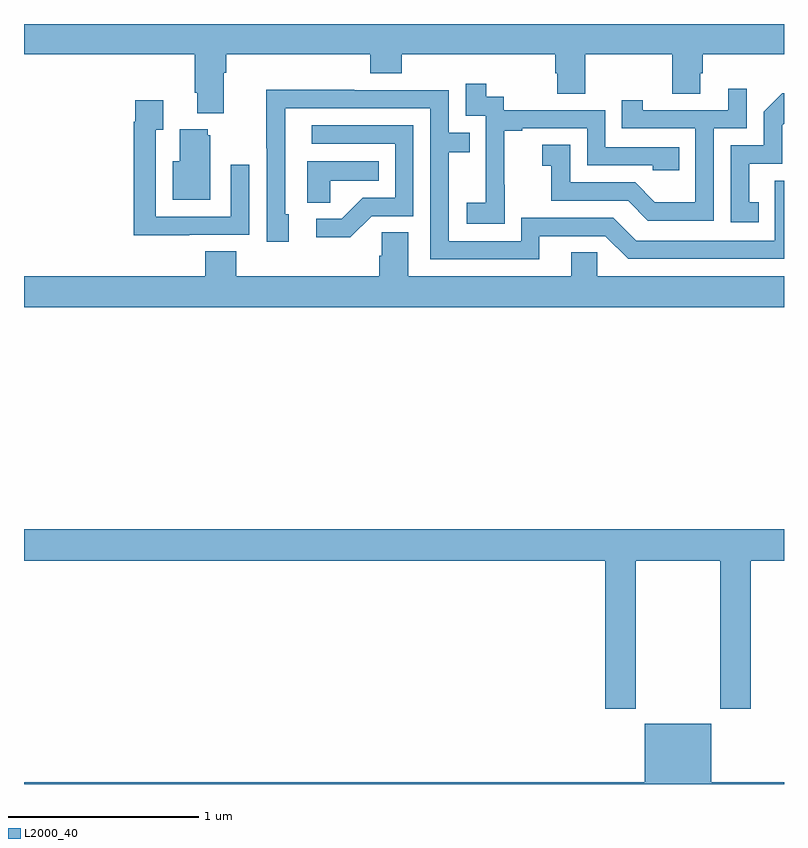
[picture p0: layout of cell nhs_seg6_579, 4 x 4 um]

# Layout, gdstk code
import gdstk
lib = gdstk.Library(unit=1e-6, precision=1e-09)
def P(c, l, *ps):  # polygons
    for p in ps: c.add(gdstk.Polygon(p, *l))
L2000_40 = (2000, 40)

nhs_seg6_579 = lib.new_cell('nhs_seg6_579')
P(nhs_seg6_579, L2000_40, [(148.051,943.244),(148.064,943.244),(148.064,943.34),(148.823,943.34),(148.823,943.241),(148.988,943.241),(148.988,943.34),(149.795,943.34),(149.795,943.242),(149.807,943.242),(149.807,943.132),(149.955,943.132),(149.955,943.34),(150.412,943.34),(150.412,943.132),(150.559,943.132),(150.559,943.242),(150.572,943.242),(150.572,943.34),(151,943.34),(151,943.5),(147,943.5),(147,943.34),(147.899,943.34),(147.899,943.138),(147.911,943.138),(147.911,943.031),(148.051,943.031)],
  [(149.529,942.655),(149.528,942.655),(149.528,942.939),(149.623,942.939),(149.623,942.951),(149.964,942.951),(149.964,942.756),(150.309,942.756),(150.309,942.729),(150.449,942.729),(150.449,942.852),(150.06,942.852),(150.06,943.047),(149.526,943.047),(149.526,943.116),(149.434,943.116),(149.434,943.186),(149.325,943.186),(149.325,943.017),(149.43,943.017),(149.43,942.788),(149.429,942.788),(149.429,942.559),(149.331,942.559),(149.331,942.449),(149.529,942.449)],
  [(150.63,942.951),(150.804,942.951),(150.804,943.159),(150.707,943.159),(150.707,943.047),(150.256,943.047),(150.256,943.099),(150.145,943.099),(150.145,942.951),(150.534,942.951),(150.534,942.562),(150.32,942.562),(150.216,942.666),(149.874,942.666),(149.874,942.865),(149.727,942.865),(149.727,942.755),(149.776,942.755),(149.776,942.57),(150.179,942.57),(150.284,942.465),(150.63,942.465)],
  [(149.713,942.384),(150.06,942.384),(150.18,942.264),(151,942.264),(151,942.675),(150.951,942.675),(150.951,942.36),(150.222,942.36),(150.102,942.48),(149.616,942.48),(149.616,942.357),(149.235,942.357),(149.235,942.826),(149.345,942.826),(149.345,942.927),(149.235,942.927),(149.235,943.152),(148.739,943.152),(148.739,943.154),(148.276,943.154),(148.276,942.847),(148.278,942.847),(148.278,942.354),(148.393,942.354),(148.393,942.498),(148.374,942.498),(148.374,943.056),(149.139,943.056),(149.139,942.261),(149.713,942.261)],
  [(150.866,942.561),(150.817,942.561),(150.817,942.765),(150.99,942.765),(150.99,942.966),(151,942.976),(151,943.136),(150.992,943.136),(150.894,943.038),(150.894,942.861),(150.72,942.861),(150.72,942.456),(150.866,942.456)],
  [(147.869,942.39),(148.185,942.39),(148.185,942.76),(148.089,942.76),(148.089,942.486),(147.693,942.486),(147.693,942.943),(147.733,942.943),(147.733,943.099),(147.585,943.099),(147.585,942.986),(147.577,942.986),(147.577,942.389),(147.869,942.389)],
  [(148.83,942.489),(149.049,942.489),(149.049,942.966),(148.515,942.966),(148.515,942.87),(148.953,942.87),(148.953,942.585),(148.784,942.585),(148.673,942.474),(148.539,942.474),(148.539,942.377),(148.717,942.377)],
  [(147.979,942.915),(147.968,942.915),(147.968,942.946),(147.821,942.946),(147.821,942.778),(147.782,942.778),(147.782,942.575),(147.979,942.575)],
  [(148.611,942.674),(148.868,942.674),(148.868,942.778),(148.49,942.778),(148.49,942.559),(148.611,942.559)],
  [(151,942.172),(150.018,942.172),(150.018,942.299),(149.879,942.299),(149.879,942.172),(149.023,942.172),(149.023,942.404),(148.884,942.404),(148.884,942.281),(148.871,942.281),(148.871,942.172),(148.118,942.172),(148.118,942.305),(147.953,942.305),(147.953,942.172),(147,942.172),(147,942.008),(151,942.008)],
  [(150.219,940.676),(150.664,940.676),(150.664,939.897),(150.824,939.897),(150.824,940.676),(151,940.676),(151,940.84),(147,940.84),(147,940.676),(150.059,940.676),(150.059,939.897),(150.219,939.897)],
  [(151,939.508),(150.616,939.508),(150.616,939.817),(150.266,939.817),(150.266,939.508),(147,939.508),(147,939.5),(151,939.5)])

lib.write_gds('nhs_seg6_579.gds')
